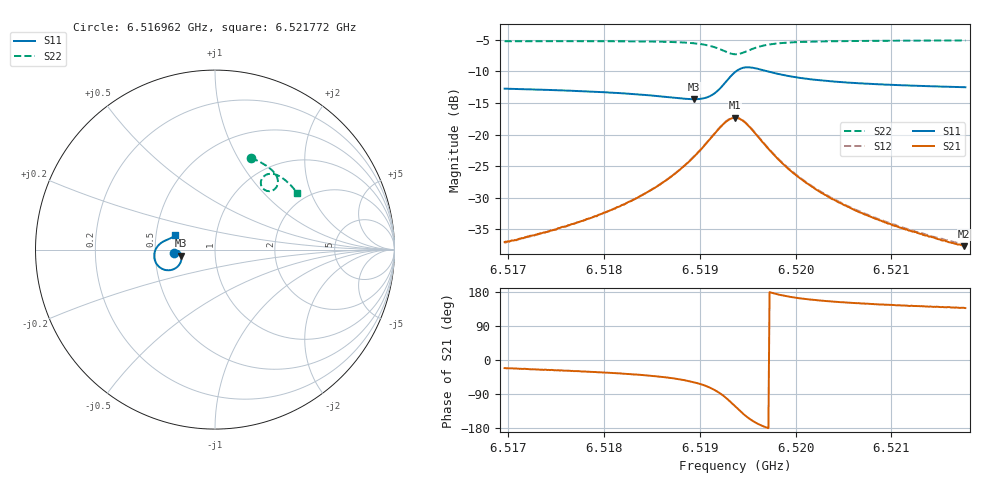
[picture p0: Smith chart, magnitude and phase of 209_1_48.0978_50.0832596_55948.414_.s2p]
#  HZ  S  RI  R  50.00
! Rohde & Schwarz Vector Network Analyzer
! Rohde-Schwarz,ZNB20-2Port,1311601062101988,3.16
! Created: UTC 12/23/2023, 3:55:33 AM
! freq[Hz]  re:S11  im:S11  re:S21  im:S21  re:S12  im:S12  re:S22  im:S22
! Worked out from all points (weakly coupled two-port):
!   401 points, 6.516962 GHz to 6.521772 GHz, reference 50 ohm
!   highest |S21| = -17.34 dB at 6.519367 GHz (marker M1); lowest = -37.7 dB at 6.52176 GHz (marker M2)
!   lowest |S11| = -14.4 dB at 6.518934 GHz (marker M3), VSWR 1.47, Z = 34.1 - j2.4 ohm
!   |S11| at or under -10 dB: start of sweep to 6.519377 GHz; 6.519711 GHz to end of sweep
!   |S22| runs from -7.3 to -5.1 dB; largest |S21 - S12| = 0.0043
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6.5169624e9  -0.2303 -0.0179  0.0131 -0.00515  0.0131 -0.00473  0.2005 0.5103
6.5174073e9  -0.2255 -0.0113  0.0152 -0.00759  0.0155 -0.00688  0.2332 0.4965
6.5177681e9  -0.2205 -0.00724  0.0179 -0.0105  0.0183 -0.00975  0.26 0.4831
6.518201e9  -0.212 -0.00497  0.0225 -0.0165  0.023 -0.0157  0.2926 0.463
6.5185737e9  -0.2012 -0.00929  0.0287 -0.0276  0.0298 -0.0267  0.3213 0.4388
6.5187661e9  -0.1938 -0.0178  0.0326 -0.0391  0.0339 -0.0382  0.3362 0.421
6.5189345e9  -0.1876 -0.0338  0.0348 -0.0564  0.0367 -0.0557  0.3474 0.3986
6.5190547e9  -0.1873 -0.0545  0.0317 -0.0768  0.034 -0.0764  0.3506 0.3755
6.5191389e9  -0.1941 -0.0758  0.022 -0.096  0.0251 -0.0962  0.346 0.3553
6.5192712e9  -0.236 -0.1113  -0.0209 -0.1243  -0.0172 -0.1259  0.3138 0.3269
6.5193674e9  -0.293 -0.1079  -0.0718 -0.1154  -0.069 -0.1184  0.2745 0.3339
6.5194155e9  -0.3177 -0.0896  -0.0918 -0.0968  -0.0897 -0.1003  0.2605 0.3499
6.5194756e9  -0.3354 -0.0586  -0.104 -0.0679  -0.1028 -0.0714  0.2553 0.3737
6.5195718e9  -0.3359 -0.0133  -0.0996 -0.029  -0.0996 -0.0322  0.2673 0.4036
6.51968e9  -0.3202 0.018  -0.0828 -0.00478  -0.0833 -0.00725  0.2899 0.4189
6.5199205e9  -0.2879 0.045  -0.0526 0.0116  -0.0535 0.0102  0.3312 0.4202
6.5201731e9  -0.2676 0.0545  -0.036 0.0137  -0.0368 0.013  0.36 0.4087
6.5205338e9  -0.2512 0.0613  -0.0239 0.0129  -0.0245 0.0124  0.3897 0.3882
6.5209787e9  -0.2386 0.0678  -0.0162 0.0112  -0.0168 0.0108  0.4182 0.3619
6.5212793e9  -0.2323 0.072  -0.0131 0.0102  -0.0136 0.01  0.4351 0.3438
6.5217603e9  -0.2238 0.0785  -0.00963 0.00888  -0.0102 0.00894  0.459 0.314
6.5217724e9  -0.2236 0.0787  -0.00963 0.00896  -0.0101 0.00871  0.4595 0.3133
